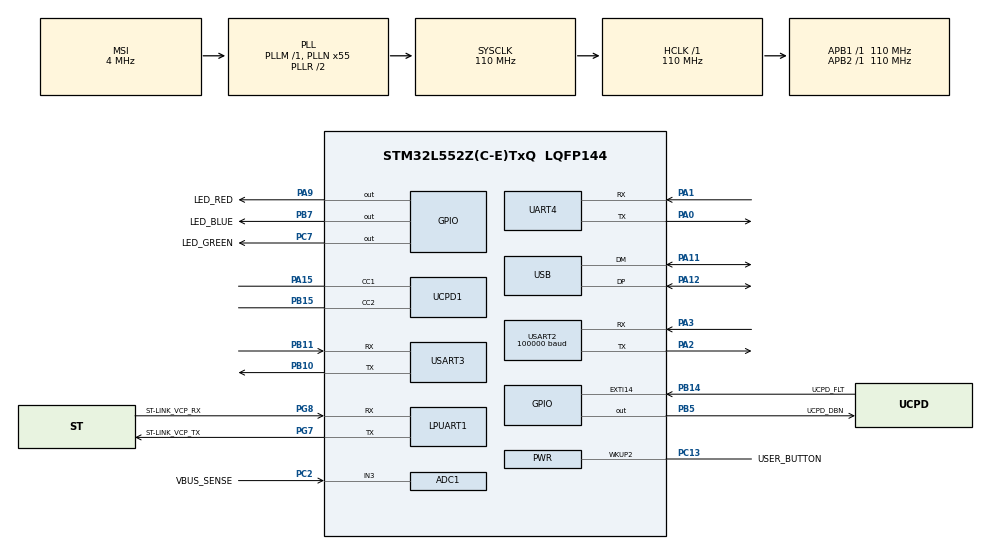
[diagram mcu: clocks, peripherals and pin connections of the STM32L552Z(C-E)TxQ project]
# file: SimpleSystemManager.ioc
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ADC1.Channel-0\#ChannelRegularConversion=ADC_CHANNEL_3
ADC1.NbrOfConversionFlag=1
ADC1.OffsetNumber-0\#ChannelRegularConversion=ADC_OFFSET_NONE
ADC1.Rank-0\#ChannelRegularConversion=1
ADC1.SamplingTime-0\#ChannelRegularConversion=ADC_SAMPLETIME_2CYCLES_5
ADC1.master=1
Dma.Request0=USART2_RX
Dma.Request1=USART2_TX
Dma.Request2=USART3_RX
Dma.Request3=UART4_RX
Dma.UART4_RX.3.Channel_PRIV_NPRIV=DMA_CHANNEL_NPRIV_DISABLE
Dma.UART4_RX.3.Direction=DMA_PERIPH_TO_MEMORY
Dma.UART4_RX.3.EventEnable=DISABLE
Dma.UART4_RX.3.Instance=DMA1_Channel4
Dma.UART4_RX.3.MemDataAlignment=DMA_MDATAALIGN_BYTE
Dma.UART4_RX.3.MemInc=DMA_MINC_ENABLE
Dma.UART4_RX.3.Mode=DMA_NORMAL
Dma.UART4_RX.3.PeriphDataAlignment=DMA_PDATAALIGN_BYTE
Dma.UART4_RX.3.PeriphInc=DMA_PINC_DISABLE
Dma.UART4_RX.3.Polarity=HAL_DMAMUX_REQ_GEN_RISING
Dma.UART4_RX.3.Priority=DMA_PRIORITY_LOW
Dma.UART4_RX.3.RequestNumber=1
Dma.UART4_RX.3.SignalID=NONE
Dma.UART4_RX.3.SyncEnable=DISABLE
Dma.UART4_RX.3.SyncPolarity=HAL_DMAMUX_SYNC_NO_EVENT
Dma.UART4_RX.3.SyncRequestNumber=1
Dma.UART4_RX.3.SyncSignalID=NONE
Dma.USART2_RX.0.Channel_PRIV_NPRIV=DMA_CHANNEL_NPRIV_DISABLE
Dma.USART2_RX.0.Direction=DMA_PERIPH_TO_MEMORY
Dma.USART2_RX.0.EventEnable=DISABLE
Dma.USART2_RX.0.Instance=DMA1_Channel1
Dma.USART2_RX.0.MemDataAlignment=DMA_MDATAALIGN_BYTE
Dma.USART2_RX.0.MemInc=DMA_MINC_ENABLE
Dma.USART2_RX.0.Mode=DMA_CIRCULAR
Dma.USART2_RX.0.PeriphDataAlignment=DMA_PDATAALIGN_BYTE
Dma.USART2_RX.0.PeriphInc=DMA_PINC_DISABLE
Dma.USART2_RX.0.Polarity=HAL_DMAMUX_REQ_GEN_RISING
Dma.USART2_RX.0.Priority=DMA_PRIORITY_LOW
Dma.USART2_RX.0.RequestNumber=1
Dma.USART2_RX.0.SignalID=NONE
Dma.USART2_RX.0.SyncEnable=DISABLE
Dma.USART2_RX.0.SyncPolarity=HAL_DMAMUX_SYNC_NO_EVENT
Dma.USART2_RX.0.SyncRequestNumber=1
Dma.USART2_RX.0.SyncSignalID=NONE
Dma.USART2_TX.1.Channel_PRIV_NPRIV=DMA_CHANNEL_NPRIV_DISABLE
Dma.USART2_TX.1.Direction=DMA_MEMORY_TO_PERIPH
Dma.USART2_TX.1.EventEnable=DISABLE
Dma.USART2_TX.1.Instance=DMA1_Channel2
Dma.USART2_TX.1.MemDataAlignment=DMA_MDATAALIGN_BYTE
Dma.USART2_TX.1.MemInc=DMA_MINC_ENABLE
Dma.USART2_TX.1.Mode=DMA_NORMAL
Dma.USART2_TX.1.PeriphDataAlignment=DMA_PDATAALIGN_BYTE
Dma.USART2_TX.1.PeriphInc=DMA_PINC_DISABLE
Dma.USART2_TX.1.Polarity=HAL_DMAMUX_REQ_GEN_RISING
Dma.USART2_TX.1.Priority=DMA_PRIORITY_LOW
Dma.USART2_TX.1.RequestNumber=1
Dma.USART2_TX.1.SignalID=NONE
Dma.USART2_TX.1.SyncEnable=DISABLE
Dma.USART2_TX.1.SyncPolarity=HAL_DMAMUX_SYNC_NO_EVENT
Dma.USART2_TX.1.SyncRequestNumber=1
Dma.USART2_TX.1.SyncSignalID=NONE
Dma.USART3_RX.2.Channel_PRIV_NPRIV=DMA_CHANNEL_NPRIV_DISABLE
Dma.USART3_RX.2.Direction=DMA_PERIPH_TO_MEMORY
Dma.USART3_RX.2.EventEnable=DISABLE
Dma.USART3_RX.2.Instance=DMA1_Channel3
Dma.USART3_RX.2.MemDataAlignment=DMA_MDATAALIGN_BYTE
Dma.USART3_RX.2.MemInc=DMA_MINC_ENABLE
Dma.USART3_RX.2.Mode=DMA_NORMAL
Dma.USART3_RX.2.PeriphDataAlignment=DMA_PDATAALIGN_BYTE
Dma.USART3_RX.2.PeriphInc=DMA_PINC_DISABLE
Dma.USART3_RX.2.Polarity=HAL_DMAMUX_REQ_GEN_RISING
Dma.USART3_RX.2.Priority=DMA_PRIORITY_LOW
Dma.USART3_RX.2.RequestNumber=1
Dma.USART3_RX.2.SignalID=NONE
Dma.USART3_RX.2.SyncEnable=DISABLE
Dma.USART3_RX.2.SyncPolarity=HAL_DMAMUX_SYNC_NO_EVENT
Dma.USART3_RX.2.SyncRequestNumber=1
Dma.USART3_RX.2.SyncSignalID=NONE
Mcu.Family=STM32L5
Mcu.Name=STM32L552Z(C-E)TxQ
Mcu.Package=LQFP144
Mcu.TrustZone=disable
NVIC.DMA1_Channel1_IRQn=true\:0\:0\:false\:false\:true\:false\:true\:true
NVIC.DMA1_Channel2_IRQn=true\:0\:0\:false\:false\:true\:false\:true\:true
NVIC.DMA1_Channel3_IRQn=true\:0\:0\:false\:false\:true\:false\:true\:true
NVIC.DMA1_Channel4_IRQn=true\:0\:0\:false\:false\:true\:false\:true\:true
NVIC.PriorityGroup=NVIC_PRIORITYGROUP_3
NVIC.UART4_IRQn=true\:0\:0\:false\:false\:true\:true\:true\:true
NVIC.USART2_IRQn=true\:0\:0\:false\:false\:true\:true\:true\:true
NVIC.USART3_IRQn=true\:0\:0\:false\:false\:true\:true\:true\:true
PA0.Mode=Asynchronous
PA0.Signal=UART4_TX
PA1.Mode=Asynchronous
PA1.Signal=UART4_RX
PA11.Mode=Device
PA11.Signal=USB_DM
PA12.Mode=Device
PA12.Signal=USB_DP
PA13\ (JTMS/SWDIO).Mode=Trace_Asynchronous_SW
PA13\ (JTMS/SWDIO).Signal=DEBUG_JTMS-SWDIO
PA14\ (JTCK/SWCLK).Mode=Trace_Asynchronous_SW
PA14\ (JTCK/SWCLK).Signal=DEBUG_JTCK-SWCLK
PA15\ (JTDI).Mode=Source_AllSignals
PA15\ (JTDI).Signal=UCPD1_CC1
PA2.Mode=Asynchronous
PA2.Signal=USART2_TX
PA3.Mode=Asynchronous
PA3.Signal=USART2_RX
PA9.GPIO_Label=LED_RED
PA9.Signal=GPIO_Output
PB10.Mode=Asynchronous
PB10.Signal=USART3_TX
PB11.Mode=Asynchronous
PB11.Signal=USART3_RX
PB14.GPIO_Label=UCPD_FLT
PB14.Signal=GPXTI14
PB15.Mode=Source_AllSignals
PB15.Signal=UCPD1_CC2
PB3\ (JTDO/TRACESWO).Mode=Trace_Asynchronous_SW
PB3\ (JTDO/TRACESWO).Signal=DEBUG_JTDO-SWO
PB5.GPIO_Label=UCPD_DBN
PB5.Signal=GPIO_Output
PB7.GPIO_Label=LED_BLUE
PB7.Signal=GPIO_Output
PC13.GPIO_Label=USER_BUTTON
PC13.Mode=WakeUp1
PC13.Signal=PWR_WKUP2
PC14-OSC32_IN\ (PC14).Mode=LSE-External-Oscillator
PC14-OSC32_IN\ (PC14).Signal=RCC_OSC32_IN
PC15-OSC32_OUT\ (PC15).Mode=LSE-External-Oscillator
PC15-OSC32_OUT\ (PC15).Signal=RCC_OSC32_OUT
PC2.GPIO_Label=VBUS_SENSE
PC2.Signal=ADCx_IN3
PC7.GPIO_Label=LED_GREEN
PC7.Signal=GPIO_Output
PG7.GPIO_Label=ST-LINK_VCP_TX
PG7.Mode=Asynchronous
PG7.Signal=LPUART1_TX
PG8.GPIO_Label=ST-LINK_VCP_RX
PG8.Mode=Asynchronous
PG8.Signal=LPUART1_RX
ProjectManager.HeapSize=0x200
ProjectManager.StackSize=0x400
ProjectManager.TargetToolchain=STM32CubeIDE
RCC.ADCCLockSelection=RCC_ADCCLKSOURCE_SYSCLK
RCC.ADCFreq_Value=110000000
RCC.AHBFreq_Value=110000000
RCC.APB1Freq_Value=110000000
RCC.APB1TimFreq_Value=110000000
RCC.APB2Freq_Value=110000000
RCC.APB2TimFreq_Value=110000000
RCC.CK48CLockSelection=RCC_USBCLKSOURCE_HSI48
RCC.CortexFreq_Value=110000000
RCC.HCLKFreq_Value=110000000
RCC.HSE_VALUE=8000000
RCC.HSI48_VALUE=48000000
RCC.HSI_VALUE=16000000
RCC.MSI_VALUE=4000000
RCC.PLLN=55
RCC.PLLSAI1N=24
RCC.RTCClockSelection=RCC_RTCCLKSOURCE_LSE
RCC.SYSCLKFreq_VALUE=110000000
RCC.SYSCLKSource=RCC_SYSCLKSOURCE_PLLCLK
RCC.USBFreq_Value=48000000
RCC.VCOOutputFreq_Value=220000000
SH.ADCx_IN3.0=ADC1_IN3,IN3-Single-Ended
USART2.BaudRate=100000
USART2.Parity=PARITY_EVEN
USART2.RxPinLevelInvertParam=ADVFEATURE_RXINV_ENABLE
USART2.StopBits=STOPBITS_2
USART2.TxPinLevelInvertParam=ADVFEATURE_TXINV_ENABLE
USART2.VirtualMode-Asynchronous=VM_ASYNC
USART2.WordLength=WORDLENGTH_9B
USART3.VirtualMode-Asynchronous=VM_ASYNC
VP_PWR_VS_DBSignals.Mode=DisableDeadBatterySignals
VP_RTC_VS_RTC_Activate.Mode=RTC_Enabled
board=NUCLEO-L552ZE-Q

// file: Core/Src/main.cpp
/* USER CODE BEGIN Header */
/**
  ******************************************************************************
  * @file           : main.c
  * @brief          : Main program body
  ******************************************************************************
  * @attention
  *
  * Copyright (c) 2023 STMicroelectronics.
  * All rights reserved.
  *
  * This software is licensed under terms that can be found in the LICENSE file
  * in the root directory of this software component.
  * If no LICENSE file comes with this software, it is provided AS-IS.
  *
  ******************************************************************************
  */
/* USER CODE END Header */
#include "main.h"
#include "adc.h"
#include "dma.h"
#include "usart.h"
#include "rtc.h"
#include "ucpd.h"
#include "usb.h"
#include "gpio.h"

/* USER CODE BEGIN Includes */
#include "../Simple_SM/Inc/Simple_Sytem_Manager.hpp"
#include "../Los_Driver/SSM_MAVLink_Driver/Inc/SSM_D_MAVLink.hpp"
#include "../Los_Driver/Common/Inc/driver_config.hpp"
#include <cstdarg>
/* USER CODE END Includes */

void SystemClock_Config(void);

/* USER CODE BEGIN 0 */
void myprintf(const char *fmt, ...);

/* USER CODE END 0 */

int main(void)
{

  /* MCU Configuration--------------------------------------------------------*/

  /* Reset of all peripherals, Initializes the Flash interface and the Systick. */
  HAL_Init();

  /* Configure the system clock */
  SystemClock_Config();

  /* Initialize all configured peripherals */
  MX_GPIO_Init();
  MX_DMA_Init();
  MX_LPUART1_UART_Init();
  MX_RTC_Init();
  MX_UCPD1_Init();
  MX_USB_PCD_Init();
  MX_ADC1_Init();
  MX_USART2_UART_Init();
  MX_USART3_UART_Init();
  MX_UART4_Init();
  /* USER CODE BEGIN 2 */
  HAL_StatusTypeDef ret;

  //HAL_UARTEx_ReceiveToIdle_DMA(&huart3, pixhawk_mavlink->raw_rx_msg_, MAVLINK_MAX_PACKET_LEN);

  /* USER CODE END 2 */

  /* Infinite loop */
  while (1)
  {

    /* USER CODE BEGIN 3 */
    SSM::getInstance()->execute_mavlink_passing();
//    mavlink_message_t new_message;
//    ground_mavlink->readMessage(new_message);

  }
  /* USER CODE END 3 */
}

void SystemClock_Config(void)
{
  RCC_OscInitTypeDef RCC_OscInitStruct = {0};
  RCC_ClkInitTypeDef RCC_ClkInitStruct = {0};

  /** Configure the main internal regulator output voltage
  */
  if (HAL_PWREx_ControlVoltageScaling(PWR_REGULATOR_VOLTAGE_SCALE0) != HAL_OK)
  {
    Error_Handler();
  }

  /** Configure LSE Drive Capability
  */
  HAL_PWR_EnableBkUpAccess();
  __HAL_RCC_LSEDRIVE_CONFIG(RCC_LSEDRIVE_LOW);

  /** Initializes the RCC Oscillators according to the specified parameters
  * in the RCC_OscInitTypeDef structure.
  */
  RCC_OscInitStruct.OscillatorType = RCC_OSCILLATORTYPE_HSI48|RCC_OSCILLATORTYPE_LSE
                              |RCC_OSCILLATORTYPE_MSI;
  RCC_OscInitStruct.LSEState = RCC_LSE_ON;
  RCC_OscInitStruct.HSI48State = RCC_HSI48_ON;
  RCC_OscInitStruct.MSIState = RCC_MSI_ON;
  RCC_OscInitStruct.MSICalibrationValue = RCC_MSICALIBRATION_DEFAULT;
  RCC_OscInitStruct.MSIClockRange = RCC_MSIRANGE_6;
  RCC_OscInitStruct.PLL.PLLState = RCC_PLL_ON;
  RCC_OscInitStruct.PLL.PLLSource = RCC_PLLSOURCE_MSI;
  RCC_OscInitStruct.PLL.PLLM = 1;
  RCC_OscInitStruct.PLL.PLLN = 55;
  RCC_OscInitStruct.PLL.PLLP = RCC_PLLP_DIV7;
  RCC_OscInitStruct.PLL.PLLQ = RCC_PLLQ_DIV2;
  RCC_OscInitStruct.PLL.PLLR = RCC_PLLR_DIV2;
  if (HAL_RCC_OscConfig(&RCC_OscInitStruct) != HAL_OK)
  {
    Error_Handler();
  }

  /** Initializes the CPU, AHB and APB buses clocks
  */
  RCC_ClkInitStruct.ClockType = RCC_CLOCKTYPE_HCLK|RCC_CLOCKTYPE_SYSCLK
                              |RCC_CLOCKTYPE_PCLK1|RCC_CLOCKTYPE_PCLK2;
  RCC_ClkInitStruct.SYSCLKSource = RCC_SYSCLKSOURCE_PLLCLK;
  RCC_ClkInitStruct.AHBCLKDivider = RCC_SYSCLK_DIV1;
  RCC_ClkInitStruct.APB1CLKDivider = RCC_HCLK_DIV1;
  RCC_ClkInitStruct.APB2CLKDivider = RCC_HCLK_DIV1;

  if (HAL_RCC_ClockConfig(&RCC_ClkInitStruct, FLASH_LATENCY_5) != HAL_OK)
  {
    Error_Handler();
  }
}

/* USER CODE BEGIN 4 */

void myprintf(const char *fmt, ...) {
  static char buffer[256];
  va_list args;
  va_start(args, fmt);
  vsnprintf(buffer, sizeof(buffer), fmt, args);
  va_end(args);

  int len = strlen(buffer);
  HAL_UART_Transmit(&hlpuart1, (uint8_t*)buffer, len, -1);
}

/* USER CODE END 4 */

void Error_Handler(void)
{
  __disable_irq();
  while (1)
  {
  }
}
